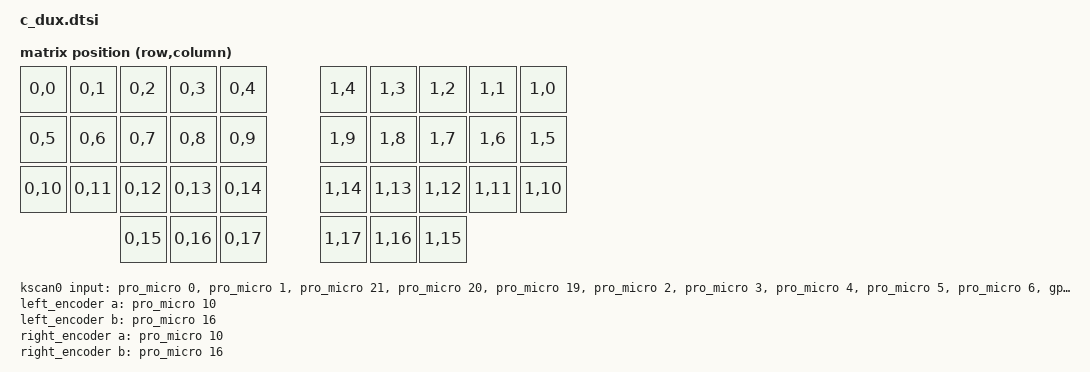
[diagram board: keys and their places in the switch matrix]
#include <dt-bindings/zmk/matrix_transform.h>

#include "c_dux-layouts.dtsi"

/ {

    chosen {
        zmk,kscan = &kscan0;
        zmk,physical-layout = &physical_layout0;
    };

    matrix_transform0: keymap_transform_0 {
        compatible = "zmk,matrix-transform";
        columns = <18>;
        rows = <2>;
        map = <
            RC(0,0)  RC(0,1)  RC(0,2)  RC(0,3)  RC(0,4)   RC(1,4)  RC(1,3)  RC(1,2)  RC(1,1)  RC(1,0)
            RC(0,5)  RC(0,6)  RC(0,7)  RC(0,8)  RC(0,9)   RC(1,9)  RC(1,8)  RC(1,7)  RC(1,6)  RC(1,5)
            RC(0,10) RC(0,11) RC(0,12) RC(0,13) RC(0,14)  RC(1,14) RC(1,13) RC(1,12) RC(1,11) RC(1,10)
                              RC(0,15) RC(0,16) RC(0,17)  RC(1,17) RC(1,16) RC(1,15)          
        >;
    };

    kscan0: kscan_direct {
        compatible = "zmk,kscan-gpio-direct";
        wakeup-source;

        input-gpios
            = <&pro_micro   0 (GPIO_ACTIVE_LOW | GPIO_PULL_UP)>
            , <&pro_micro   1 (GPIO_ACTIVE_LOW | GPIO_PULL_UP)>
            , <&pro_micro  21 (GPIO_ACTIVE_LOW | GPIO_PULL_UP)>
            , <&pro_micro  20 (GPIO_ACTIVE_LOW | GPIO_PULL_UP)>
            , <&pro_micro  19 (GPIO_ACTIVE_LOW | GPIO_PULL_UP)>

            , <&pro_micro   2 (GPIO_ACTIVE_LOW | GPIO_PULL_UP)>
            , <&pro_micro   3 (GPIO_ACTIVE_LOW | GPIO_PULL_UP)>
            , <&pro_micro   4 (GPIO_ACTIVE_LOW | GPIO_PULL_UP)>
            , <&pro_micro   5 (GPIO_ACTIVE_LOW | GPIO_PULL_UP)>
            , <&pro_micro   6 (GPIO_ACTIVE_LOW | GPIO_PULL_UP)>

            , <&gpio1       2 (GPIO_ACTIVE_LOW | GPIO_PULL_UP)>
            , <&gpio1       1 (GPIO_ACTIVE_LOW | GPIO_PULL_UP)>
            , <&pro_micro   7 (GPIO_ACTIVE_LOW | GPIO_PULL_UP)>
            , <&pro_micro   8 (GPIO_ACTIVE_LOW | GPIO_PULL_UP)>
            , <&pro_micro   9 (GPIO_ACTIVE_LOW | GPIO_PULL_UP)>

            , <&gpio1       7 (GPIO_ACTIVE_LOW | GPIO_PULL_UP)>
            , <&pro_micro  15 (GPIO_ACTIVE_LOW | GPIO_PULL_UP)>
            , <&pro_micro  14 (GPIO_ACTIVE_LOW | GPIO_PULL_UP)>
            ;
    };

    left_encoder: left_encoder {
        compatible = "alps,ec11";
        a-gpios = <&pro_micro 10 (GPIO_ACTIVE_LOW | GPIO_PULL_UP)>;
        b-gpios = <&pro_micro 16 (GPIO_ACTIVE_LOW | GPIO_PULL_UP)>;
        steps = <96>;
        status = "disabled";
    };

    right_encoder: right_encoder {
        compatible = "alps,ec11";
        a-gpios = <&pro_micro 10 (GPIO_ACTIVE_LOW | GPIO_PULL_UP)>;
        b-gpios = <&pro_micro 16 (GPIO_ACTIVE_LOW | GPIO_PULL_UP)>;
        steps = <96>;
        status = "disabled";
    };

    sensors: sensors {
        compatible = "zmk,keymap-sensors";
        sensors = <&left_encoder &right_encoder>;
        triggers-per-rotation = <24>;
    };
};
